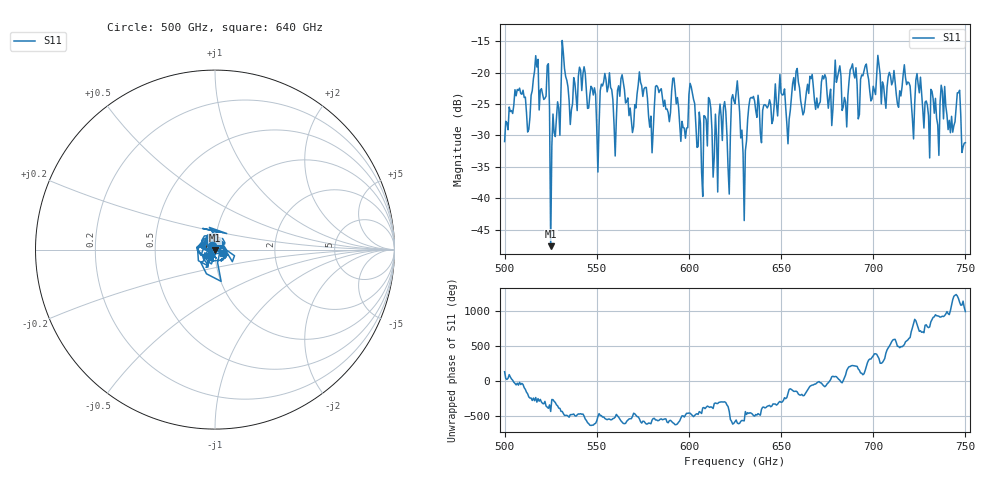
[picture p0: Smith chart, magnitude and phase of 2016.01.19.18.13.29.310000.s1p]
!Created with skrf (http://scikit-rf.org).
# GHz S RI R 50.0
!freq ReS11 ImS11
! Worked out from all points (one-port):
!   401 points, 500 GHz to 750 GHz, reference 50 ohm
!   lowest |S11| = -47.6 dB at 525 GHz (marker M1), VSWR 1.01, Z = 50.1 - j0.411 ohm
!   |S11| at or under -10 dB: start of sweep to end of sweep
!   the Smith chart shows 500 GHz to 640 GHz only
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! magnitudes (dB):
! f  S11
! 500 GHz  -31.0
! 506.9 GHz  -22.7
! 513.1 GHz  -29.0
! 516.9 GHz  -17.3
! 523.1 GHz  -18.9
! 525 GHz  -47.6
! 531.2 GHz  -14.9
! 550.6 GHz  -35.8
! 562.5 GHz  -23.8
! 579.4 GHz  -26.9
! 583.1 GHz  -22.3
! 593.8 GHz  -24.0
! 601.9 GHz  -23.3
! 606.2 GHz  -28.1
! 610.6 GHz  -24.0
! 614.4 GHz  -26.6
! 618.1 GHz  -30.8
! 621.9 GHz  -39.3
! 625 GHz  -24.9
! 630 GHz  -43.5
! 633.8 GHz  -24.0
! 656.2 GHz  -21.8
! 680.6 GHz  -20.7
! 684.4 GHz  -24.0
! 687.5 GHz  -19.6
! 718.8 GHz  -21.5
! 746.2 GHz  -23.2
! 750 GHz  -31.1
